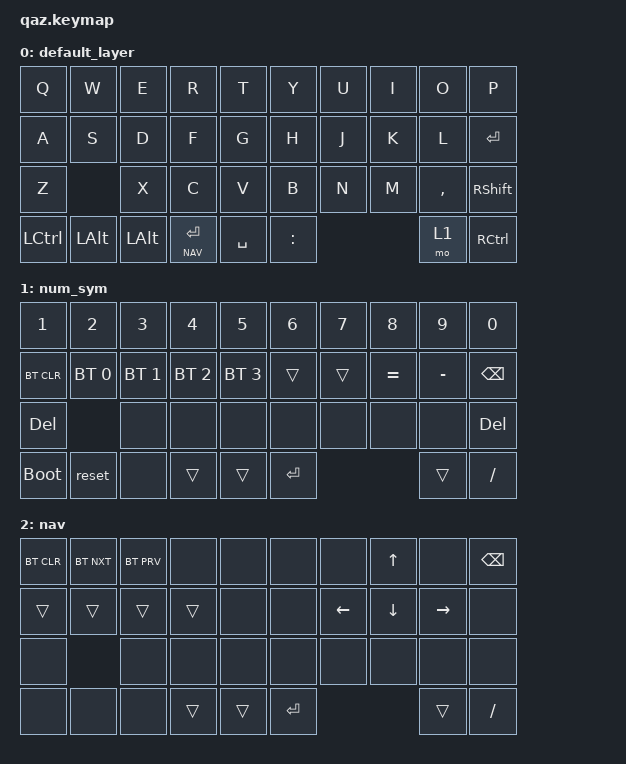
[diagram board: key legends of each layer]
/*
 * Copyright (c) 2020 The ZMK Contributors
 *
 * SPDX-License-Identifier: MIT
 */

#include <behaviors.dtsi>
#include <dt-bindings/zmk/keys.h>
#include <dt-bindings/zmk/bt.h>

#define DEFAULT 0
#define NUM_SYM 1
#define NAV     2

/ {
    behaviors {
        hm: homerow_mods {
            compatible = "zmk,behavior-hold-tap";
            label = "homerow mods";
            #binding-cells = <2>;
            tapping-term-ms = <225>;
            flavor = "tap-preferred";
            bindings = <&kp>, <&kp>;
        };
    };
};

/ {
    keymap {
        compatible = "zmk,keymap";

        default_layer {
            bindings = <
    &kp Q      &kp W      &kp E       &kp R       &kp T       &kp Y       &kp U    &kp I    &kp O      &kp P
    &kp A      &kp S      &kp D       &kp F       &kp G       &kp H       &kp J    &kp K    &kp L      &kp RET
    &kp Z                 &kp X       &kp C       &kp V       &kp B       &kp N    &kp M    &kp COMMA  &kp RSHFT
    &kp LCTRL  &kp LALT   &kp LALT    &lt NAV RET &kp SPACE   &kp COLON                     &mo 1      &kp RCTRL
            >;
        };
        num_sym {
            bindings = <
    &kp N1     &kp N2       &kp N3       &kp N4       &kp N5       &kp N6 &kp N7   &kp N8      &kp N9    &kp N0
    &bt BT_CLR &bt BT_SEL 0 &bt BT_SEL 1 &bt BT_SEL 2 &bt BT_SEL 3 &trans &trans   &kp EQUAL   &kp MINUS &kp BSPC
    &kp DEL                 &none        &none        &none        &none  &none    &none       &none     &kp DEL
    &bootloader &reset      &none        &trans       &trans                       &kp RET     &trans    &kp FSLH
            >;
        };

    nav {
            bindings = <
    &bt BT_CLR &bt BT_NXT &bt BT_PRV &none       &none &none &none       &kp UP       &none     &kp BSPC
    &trans     &trans     &trans     &trans      &none &none &kp LEFT    &kp DOWN     &kp RIGHT &none
    &none                 &none      &none       &none &none &none       &none        &none     &none
    &none      &none      &none         &trans        &trans             &kp RET      &trans    &kp FSLH
            >;
        };
    };
};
